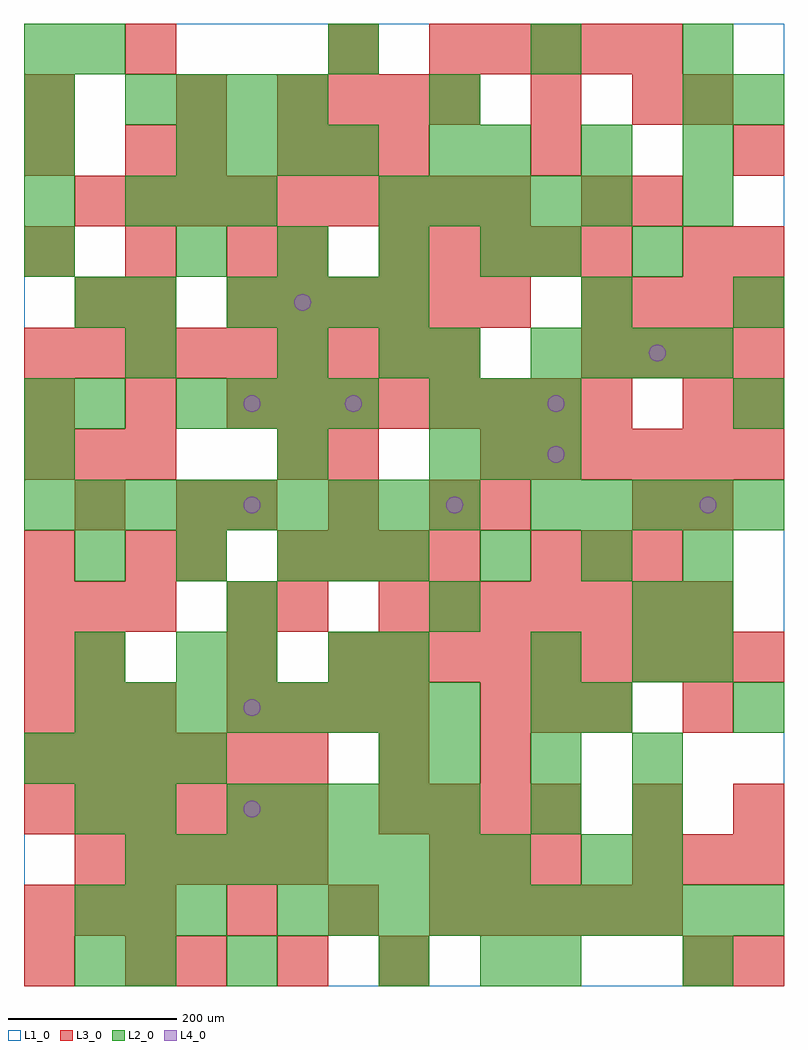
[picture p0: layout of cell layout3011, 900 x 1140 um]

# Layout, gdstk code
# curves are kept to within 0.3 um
import gdstk
lib = gdstk.Library(unit=1e-6, precision=1e-09)
def R(c, l, rs):  # rectangles x0, y0, x1, y1
    for r in rs: c.add(gdstk.rectangle(r[:2], r[2:], *l))
def A(c, l, x, y, w, h, nx, ny, dx, dy):  # array of equal rectangles
    R(c, l, [(x+i*dx, y+j*dy, x+i*dx+w, y+j*dy+h) for i in range(nx) for j in range(ny)])
def P(c, l, *ps):  # polygons
    for p in ps: c.add(gdstk.Polygon(p, *l))
L1_0 = (1, 0)
L2_0 = (2, 0)
L3_0 = (3, 0)
L4_0 = (4, 0)

layout3011 = lib.new_cell('layout3011')
R(layout3011, L1_0, [(0,0,900,1140)])
A(layout3011, L2_0, 60, 0, 60, 60, 1, 3, 0, 180)
A(layout3011, L2_0, 60, 60, 60, 60, 3, 1, 60, 0)
A(layout3011, L2_0, 300, 60, 60, 60, 10, 1, 60, 0)
A(layout3011, L2_0, 120, 120, 60, 60, 8, 1, 60, 0)
A(layout3011, L2_0, 240, 180, 60, 60, 5, 1, 60, 0)
A(layout3011, L2_0, 0, 240, 60, 60, 4, 1, 60, 0)
A(layout3011, L2_0, 480, 240, 60, 60, 3, 1, 120, 0)
A(layout3011, L2_0, 60, 300, 60, 60, 8, 1, 60, 0)
A(layout3011, L2_0, 240, 420, 60, 60, 3, 1, 240, 0)
A(layout3011, L2_0, 60, 480, 60, 60, 3, 1, 120, 0)
A(layout3011, L2_0, 420, 480, 60, 60, 4, 1, 120, 0)
A(layout3011, L2_0, 0, 540, 60, 60, 9, 1, 60, 0)
A(layout3011, L2_0, 600, 540, 60, 60, 5, 1, 60, 0)
A(layout3011, L2_0, 480, 600, 60, 60, 3, 2, 60, 60)
A(layout3011, L2_0, 180, 660, 60, 60, 4, 2, 60, 300)
A(layout3011, L2_0, 600, 720, 60, 60, 4, 1, 60, 0)
A(layout3011, L2_0, 240, 780, 60, 60, 4, 1, 60, 0)
A(layout3011, L2_0, 0, 840, 60, 60, 1, 5, 0, 60)
A(layout3011, L2_0, 180, 840, 60, 60, 4, 1, 120, 0)
A(layout3011, L2_0, 120, 900, 60, 60, 3, 1, 60, 0)
A(layout3011, L2_0, 420, 900, 60, 60, 5, 1, 60, 0)
A(layout3011, L2_0, 540, 960, 60, 60, 3, 1, 120, 0)
A(layout3011, L2_0, 120, 1020, 60, 60, 4, 1, 60, 0)
R(layout3011, L2_0, [(120,0,180,60), (240,0,300,60), (420,0,480,60), (540,0,600,60), (600,0,660,60), (780,0,840,60), (660,120,720,180), (720,120,780,180), (120,180,180,240), (600,180,660,240), (720,180,780,240), (420,240,480,300), (600,300,660,360), (660,300,720,360), (840,300,900,360), (180,360,240,420), (240,360,300,420), (360,360,420,420), (420,360,480,420), (600,360,660,420), (720,360,780,420), (780,360,840,420), (780,420,840,480), (360,480,420,540), (0,600,60,660), (300,600,360,660), (0,660,60,720), (60,660,120,720), (840,660,900,720), (120,720,180,780), (300,720,360,780), (420,720,480,780), (480,720,540,780), (60,780,120,840), (120,780,180,840), (660,780,720,840), (840,780,900,840), (600,840,660,900), (720,840,780,900), (780,900,840,960), (480,960,540,1020), (480,1020,540,1080), (780,1020,840,1080), (840,1020,900,1080), (60,1080,120,1140), (360,1080,420,1140), (600,1080,660,1140), (780,1080,840,1140)])
A(layout3011, L3_0, 180, 0, 60, 60, 3, 1, 120, 0)
A(layout3011, L3_0, 0, 60, 60, 60, 3, 2, 60, 240)
A(layout3011, L3_0, 240, 60, 60, 60, 3, 2, 120, 480)
A(layout3011, L3_0, 540, 60, 60, 60, 4, 1, 60, 0)
A(layout3011, L3_0, 60, 120, 60, 60, 5, 1, 60, 0)
A(layout3011, L3_0, 480, 120, 60, 60, 3, 1, 60, 0)
A(layout3011, L3_0, 720, 120, 60, 60, 3, 1, 60, 0)
A(layout3011, L3_0, 0, 180, 60, 60, 6, 2, 60, 60)
A(layout3011, L3_0, 420, 180, 60, 60, 4, 1, 60, 0)
A(layout3011, L3_0, 720, 180, 60, 60, 1, 3, 0, 360)
A(layout3011, L3_0, 240, 300, 60, 60, 4, 1, 60, 0)
A(layout3011, L3_0, 540, 300, 60, 60, 3, 1, 60, 0)
A(layout3011, L3_0, 360, 360, 60, 60, 9, 1, 60, 0)
A(layout3011, L3_0, 0, 420, 60, 60, 3, 2, 60, 180)
A(layout3011, L3_0, 420, 420, 60, 60, 7, 1, 60, 0)
A(layout3011, L3_0, 300, 480, 60, 60, 4, 2, 60, 540)
A(layout3011, L3_0, 600, 480, 60, 60, 3, 1, 60, 0)
A(layout3011, L3_0, 540, 600, 60, 60, 6, 1, 60, 0)
A(layout3011, L3_0, 0, 660, 60, 60, 3, 2, 120, 180)
A(layout3011, L3_0, 300, 660, 60, 60, 7, 1, 60, 0)
A(layout3011, L3_0, 780, 660, 60, 60, 1, 3, 0, 180)
A(layout3011, L3_0, 0, 720, 60, 60, 9, 1, 60, 0)
A(layout3011, L3_0, 660, 720, 60, 60, 4, 2, 60, 60)
A(layout3011, L3_0, 240, 780, 60, 60, 6, 1, 60, 0)
A(layout3011, L3_0, 420, 840, 60, 60, 5, 1, 60, 0)
A(layout3011, L3_0, 60, 900, 60, 60, 9, 1, 60, 0)
A(layout3011, L3_0, 300, 960, 60, 60, 3, 1, 60, 0)
A(layout3011, L3_0, 480, 1080, 60, 60, 5, 1, 60, 0)
R(layout3011, L3_0, [(0,0,60,60), (120,0,180,60), (780,0,840,60), (840,0,900,60), (840,180,900,240), (420,240,480,300), (540,240,600,300), (780,300,840,360), (0,360,60,420), (60,360,120,420), (240,360,300,420), (240,420,300,480), (300,420,360,480), (0,480,60,540), (120,480,180,540), (180,480,240,540), (60,540,120,600), (180,540,240,600), (540,540,600,600), (780,540,840,600), (300,600,360,660), (360,600,420,660), (840,660,900,720), (60,780,120,840), (120,780,180,840), (300,840,360,900), (840,840,900,900), (660,900,720,960), (0,960,60,1020), (120,960,180,1020), (180,960,240,1020), (600,960,660,1020), (840,960,900,1020), (0,1020,60,1080), (180,1020,240,1080), (600,1020,660,1080), (720,1020,780,1080), (120,1080,180,1140), (360,1080,420,1140)])
P(layout3011, L4_0, [(280,210),(279.239,213.827),(277.071,217.071),(273.827,219.239),(270,220),(266.173,219.239),(262.929,217.071),(260.761,213.827),(260,210),(260.761,206.173),(262.929,202.929),(266.173,200.761),(270,200),(273.827,200.761),(277.071,202.929),(279.239,206.173)],
  [(280,330),(279.239,333.827),(277.071,337.071),(273.827,339.239),(270,340),(266.173,339.239),(262.929,337.071),(260.761,333.827),(260,330),(260.761,326.173),(262.929,322.929),(266.173,320.761),(270,320),(273.827,320.761),(277.071,322.929),(279.239,326.173)],
  [(280,570),(279.239,573.827),(277.071,577.071),(273.827,579.239),(270,580),(266.173,579.239),(262.929,577.071),(260.761,573.827),(260,570),(260.761,566.173),(262.929,562.929),(266.173,560.761),(270,560),(273.827,560.761),(277.071,562.929),(279.239,566.173)],
  [(280,690),(279.239,693.827),(277.071,697.071),(273.827,699.239),(270,700),(266.173,699.239),(262.929,697.071),(260.761,693.827),(260,690),(260.761,686.173),(262.929,682.929),(266.173,680.761),(270,680),(273.827,680.761),(277.071,682.929),(279.239,686.173)],
  [(340,810),(339.239,813.827),(337.071,817.071),(333.827,819.239),(330,820),(326.173,819.239),(322.929,817.071),(320.761,813.827),(320,810),(320.761,806.173),(322.929,802.929),(326.173,800.761),(330,800),(333.827,800.761),(337.071,802.929),(339.239,806.173)],
  [(400,690),(399.239,693.827),(397.071,697.071),(393.827,699.239),(390,700),(386.173,699.239),(382.929,697.071),(380.761,693.827),(380,690),(380.761,686.173),(382.929,682.929),(386.173,680.761),(390,680),(393.827,680.761),(397.071,682.929),(399.239,686.173)],
  [(520,570),(519.239,573.827),(517.071,577.071),(513.827,579.239),(510,580),(506.173,579.239),(502.929,577.071),(500.761,573.827),(500,570),(500.761,566.173),(502.929,562.929),(506.173,560.761),(510,560),(513.827,560.761),(517.071,562.929),(519.239,566.173)],
  [(640,630),(639.239,633.827),(637.071,637.071),(633.827,639.239),(630,640),(626.173,639.239),(622.929,637.071),(620.761,633.827),(620,630),(620.761,626.173),(622.929,622.929),(626.173,620.761),(630,620),(633.827,620.761),(637.071,622.929),(639.239,626.173)],
  [(640,690),(639.239,693.827),(637.071,697.071),(633.827,699.239),(630,700),(626.173,699.239),(622.929,697.071),(620.761,693.827),(620,690),(620.761,686.173),(622.929,682.929),(626.173,680.761),(630,680),(633.827,680.761),(637.071,682.929),(639.239,686.173)],
  [(760,750),(759.239,753.827),(757.071,757.071),(753.827,759.239),(750,760),(746.173,759.239),(742.929,757.071),(740.761,753.827),(740,750),(740.761,746.173),(742.929,742.929),(746.173,740.761),(750,740),(753.827,740.761),(757.071,742.929),(759.239,746.173)],
  [(820,570),(819.239,573.827),(817.071,577.071),(813.827,579.239),(810,580),(806.173,579.239),(802.929,577.071),(800.761,573.827),(800,570),(800.761,566.173),(802.929,562.929),(806.173,560.761),(810,560),(813.827,560.761),(817.071,562.929),(819.239,566.173)])

lib.write_gds('layout3011.gds')
